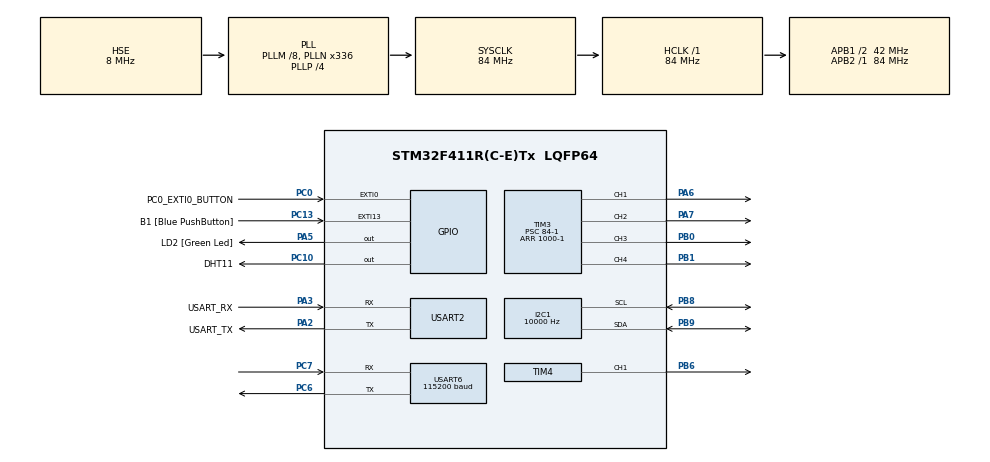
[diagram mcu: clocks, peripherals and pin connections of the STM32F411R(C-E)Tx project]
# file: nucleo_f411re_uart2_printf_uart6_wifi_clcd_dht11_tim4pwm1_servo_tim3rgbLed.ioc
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I2C1.ClockSpeed=10000
Mcu.Family=STM32F4
Mcu.Name=STM32F411R(C-E)Tx
Mcu.Package=LQFP64
NVIC.EXTI0_IRQn=true\:0\:0\:false\:false\:true\:true\:true\:true
NVIC.EXTI15_10_IRQn=true\:0\:0\:false\:false\:true\:true\:true\:true
NVIC.PriorityGroup=NVIC_PRIORITYGROUP_0
NVIC.TIM3_IRQn=true\:0\:0\:false\:false\:true\:true\:true\:true
NVIC.USART2_IRQn=true\:0\:0\:false\:false\:true\:true\:true\:true
NVIC.USART6_IRQn=true\:0\:0\:false\:false\:true\:true\:true\:true
PA13.GPIO_Label=TMS
PA13.Mode=Serial_Wire
PA13.Signal=SYS_JTMS-SWDIO
PA14.GPIO_Label=TCK
PA14.Mode=Serial_Wire
PA14.Signal=SYS_JTCK-SWCLK
PA2.GPIO_Label=USART_TX
PA2.Mode=Asynchronous
PA2.Signal=USART2_TX
PA3.GPIO_Label=USART_RX
PA3.Mode=Asynchronous
PA3.Signal=USART2_RX
PA5.GPIO_Label=LD2 [Green Led]
PA5.Signal=GPIO_Output
PA6.Signal=S_TIM3_CH1
PA7.Signal=S_TIM3_CH2
PB0.Signal=S_TIM3_CH3
PB1.Signal=S_TIM3_CH4
PB3.GPIO_Label=SWO
PB3.Signal=SYS_JTDO-SWO
PB6.Signal=S_TIM4_CH1
PB8.Mode=I2C
PB8.Signal=I2C1_SCL
PB9.Mode=I2C
PB9.Signal=I2C1_SDA
PC0.GPIO_Label=PC0_EXTI0_BUTTON
PC0.Signal=GPXTI0
PC10.GPIO_Label=DHT11
PC10.Signal=GPIO_Output
PC13-ANTI_TAMP.GPIO_Label=B1 [Blue PushButton]
PC13-ANTI_TAMP.GPIO_ModeDefaultEXTI=GPIO_MODE_IT_FALLING
PC13-ANTI_TAMP.Signal=GPXTI13
PC14-OSC32_IN.Signal=RCC_OSC32_IN
PC15-OSC32_OUT.Signal=RCC_OSC32_OUT
PC6.Mode=Asynchronous
PC6.Signal=USART6_TX
PC7.Mode=Asynchronous
PC7.Signal=USART6_RX
PH0\ -\ OSC_IN.Mode=HSE-External-Oscillator
PH0\ -\ OSC_IN.Signal=RCC_OSC_IN
PH1\ -\ OSC_OUT.Mode=HSE-External-Oscillator
PH1\ -\ OSC_OUT.Signal=RCC_OSC_OUT
ProjectManager.HeapSize=0x200
ProjectManager.StackSize=0x400
ProjectManager.TargetToolchain=STM32CubeIDE
RCC.48MHZClocksFreq_Value=84000000
RCC.AHBFreq_Value=84000000
RCC.APB1CLKDivider=RCC_HCLK_DIV2
RCC.APB1Freq_Value=42000000
RCC.APB1TimFreq_Value=84000000
RCC.APB2Freq_Value=84000000
RCC.APB2TimFreq_Value=84000000
RCC.CortexFreq_Value=84000000
RCC.FLatency-AdvancedSettings=FLASH_LATENCY_2
RCC.HCLKFreq_Value=84000000
RCC.HSE_VALUE=8000000
RCC.HSI_VALUE=16000000
RCC.LSE_VALUE=32768
RCC.PLLM=8
RCC.PLLN=336
RCC.PLLP=RCC_PLLP_DIV4
RCC.PLLSourceVirtual=RCC_PLLSOURCE_HSE
RCC.SYSCLKFreq_VALUE=84000000
RCC.SYSCLKSource=RCC_SYSCLKSOURCE_PLLCLK
RCC.VCOOutputFreq_Value=336000000
SH.S_TIM3_CH1.0=TIM3_CH1,PWM Generation1 CH1
SH.S_TIM3_CH2.0=TIM3_CH2,PWM Generation2 CH2
SH.S_TIM3_CH3.0=TIM3_CH3,PWM Generation3 CH3
SH.S_TIM3_CH4.0=TIM3_CH4,PWM Generation4 CH4
SH.S_TIM4_CH1.0=TIM4_CH1,PWM Generation1 CH1
TIM3.AutoReloadPreload=TIM_AUTORELOAD_PRELOAD_ENABLE
TIM3.Channel-PWM\ Generation1\ CH1=TIM_CHANNEL_1
TIM3.Channel-PWM\ Generation2\ CH2=TIM_CHANNEL_2
TIM3.Channel-PWM\ Generation3\ CH3=TIM_CHANNEL_3
TIM3.Channel-PWM\ Generation4\ CH4=TIM_CHANNEL_4
TIM3.Period=1000-1
TIM3.Prescaler=84-1
TIM4.Channel-PWM\ Generation1\ CH1=TIM_CHANNEL_1
TIM4.Period=20000-1
TIM4.Prescaler=84-1
TIM4.Pulse-PWM\ Generation1\ CH1=500
USART2.VirtualMode=VM_ASYNC
USART6.BaudRate=115200
USART6.VirtualMode=VM_ASYNC
VP_TIM3_VS_ClockSourceINT.Mode=Internal
VP_TIM4_VS_ClockSourceINT.Mode=Internal
board=NUCLEO-F411RE

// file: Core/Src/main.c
/* USER CODE BEGIN Header */
/**
  ******************************************************************************
  * @file           : main.c
  * @brief          : Main program body
  ******************************************************************************
  * @attention
  *
  * Copyright (c) 2024 STMicroelectronics.
  * All rights reserved.
  *
  * This software is licensed under terms that can be found in the LICENSE file
  * in the root directory of this software component.
  * If no LICENSE file comes with this software, it is provided AS-IS.
  *
  ******************************************************************************
  */
/* USER CODE END Header */
#include "main.h"

/* USER CODE BEGIN Includes */
#include <stdio.h>
#include <string.h>
#include <stdlib.h>
#include "esp.h"
#include "dht.h"
#include "clcd.h"
/* USER CODE END Includes */

/* USER CODE BEGIN PD */
#ifdef __GNUC__
/* With GCC, small printf (option LD Linker->Libraries->Small printf
   set to 'Yes') calls __io_putchar() */
#define PUTCHAR_PROTOTYPE int __io_putchar(int ch)
#else
#define PUTCHAR_PROTOTYPE int fputc(int ch, FILE *f)
#endif /* __GNUC__ */
#define ARR_CNT 5
#define CMD_SIZE 50

/* USER CODE END PD */

I2C_HandleTypeDef hi2c1;

TIM_HandleTypeDef htim3;
TIM_HandleTypeDef htim4;

UART_HandleTypeDef huart2;
UART_HandleTypeDef huart6;

/* USER CODE BEGIN PV */
uint8_t rx2char;
extern cb_data_t cb_data;
extern volatile unsigned char rx2Flag;
extern volatile char rx2Data[50];
volatile int tim3Flag1Sec=1;
volatile unsigned int tim3Sec;
volatile int keyNo;
int rgbFlag;
/* USER CODE END PV */

void SystemClock_Config(void);
static void MX_GPIO_Init(void);
static void MX_USART2_UART_Init(void);
static void MX_USART6_UART_Init(void);
static void MX_TIM3_Init(void);
static void MX_I2C1_Init(void);
static void MX_TIM4_Init(void);
/* USER CODE BEGIN PFP */
char strBuff[MAX_ESP_COMMAND_LEN];
void MX_GPIO_LED_ON(int flag);
void MX_GPIO_LED_OFF(int flag);
void esp_event(char *);
long map(long x, long in_min, long in_max, long out_min, long out_max);
void set_rgb_led(int red, int green, int blue);
/* USER CODE END PFP */

int main(void)
{

  /* USER CODE BEGIN 1 */
	int ret = 0;
	DHT11_TypeDef dht11Data;
	char buff[30];
	int pluse = 500;
	int red = 500;
	int green = 500;
	int blue = 500;
  /* USER CODE END 1 */

  /* MCU Configuration--------------------------------------------------------*/

  /* Reset of all peripherals, Initializes the Flash interface and the Systick. */
  HAL_Init();

  /* Configure the system clock */
  SystemClock_Config();

  /* Initialize all configured peripherals */
  MX_GPIO_Init();
  MX_USART2_UART_Init();
  MX_USART6_UART_Init();
  MX_TIM3_Init();
  MX_I2C1_Init();
  MX_TIM4_Init();
  /* USER CODE BEGIN 2 */
  printf("Start main() - wifi\r\n");
  ret |= drv_uart_init();
  ret |= drv_esp_init();
  if(ret != 0)
  {
	  printf("Esp response error\r\n");
	  Error_Handler();
  }

  AiotClient_Init();

  DHT11_Init();
  LCD_init(&hi2c1);
  LCD_writeStringXY(0, 0, "hello lcd");

  if(HAL_TIM_Base_Start_IT(&htim3) != HAL_OK)
  {
	  Error_Handler();
  }
  if(HAL_TIM_PWM_Start(&htim4, TIM_CHANNEL_1) != HAL_OK)
  {
	  Error_Handler();
  }
  __HAL_TIM_SetCompare(&htim4,TIM_CHANNEL_1,(pluse-1)<0?0:pluse-1);

  __HAL_TIM_SetCompare(&htim3,TIM_CHANNEL_2,(red-1)<0?0:red-1);
  __HAL_TIM_SetCompare(&htim3,TIM_CHANNEL_3,(green-1)<0?0:green-1);
  __HAL_TIM_SetCompare(&htim3,TIM_CHANNEL_4,(blue-1)<0?0:blue-1);
  if(HAL_TIM_PWM_Start(&htim3, TIM_CHANNEL_2) != HAL_OK)
  {
	  Error_Handler();
  }
  if(HAL_TIM_PWM_Start(&htim3, TIM_CHANNEL_3) != HAL_OK)
  {
	  Error_Handler();
  }
  if(HAL_TIM_PWM_Start(&htim3, TIM_CHANNEL_4) != HAL_OK)
  {
	  Error_Handler();
  }

  /* USER CODE END 2 */

  /* Infinite loop */
  /* USER CODE BEGIN WHILE */
  while (1)
  {
		if(strstr((char *)cb_data.buf,"+IPD") && cb_data.buf[cb_data.length-1] == '\n')
		{
			//?��?��?���??  \r\n+IPD,15:[KSH_LIN]HELLO\n
			strcpy(strBuff,strchr((char *)cb_data.buf,'['));
			memset(cb_data.buf,0x0,sizeof(cb_data.buf));
			cb_data.length = 0;
			esp_event(strBuff);
		}
		if(rx2Flag)
		{
			printf("recv2 : %s\r\n",rx2Data);
			rx2Flag =0;
		}
		if(keyNo != 0)
		{
		  if((keyNo == 1) && (pluse > 500))	//down
		  {
			  pluse -= 200;
		  }
		  if((keyNo == 2) && (pluse < 2500))	//up
		  {
			  pluse += 200;
		  }
		  __HAL_TIM_SetCompare(&htim4,TIM_CHANNEL_1,(pluse-1)<0?0:pluse-1);
		  printf("keyNo : %u, pluse : %d\r\n",keyNo,pluse);
		  keyNo = 0;
		}
		if(tim3Flag1Sec)	//1초에 한번
		{
			tim3Flag1Sec = 0;
			if(!(tim3Sec%10)) //10초에 한번
			{
				if(esp_get_status() != 0)
				{
					printf("server connecting ...\r\n");
					esp_client_conn();
				}
			}
//			printf("tim3Sec : %d\r\n",tim3Sec);
			if(!(tim3Sec%5)) //5초에 한번
			{
				dht11Data = DHT11_readData();
				if(dht11Data.rh_byte1 != 255)
				{
					sprintf(buff,"h: %d%% t: %d.%d'C", dht11Data.rh_byte1, dht11Data.temp_byte1, dht11Data.temp_byte2);
					printf("%s\r\n", buff);
					LCD_writeStringXY(1, 0, buff);
				}
				else
					printf("DHT11 response error\r\n");
			}
			if(rgbFlag == 0)
			{
				if(!(tim3Sec%3))
				{
					red = 1000;
					green = 0;
					blue = 0;
				}
				else if((tim3Sec%3)==1)
				{
					red = 0;
					green = 1000;
					blue = 0;
				}
				else if((tim3Sec%3)==2)
				{
					red = 0;
					green = 0;
					blue = 1000;
				}
				set_rgb_led(red, green, blue);
			}
		}
    /* USER CODE END WHILE */

  }
}

void SystemClock_Config(void)
{
  RCC_OscInitTypeDef RCC_OscInitStruct = {0};
  RCC_ClkInitTypeDef RCC_ClkInitStruct = {0};

  /** Configure the main internal regulator output voltage
  */
  __HAL_RCC_PWR_CLK_ENABLE();
  __HAL_PWR_VOLTAGESCALING_CONFIG(PWR_REGULATOR_VOLTAGE_SCALE1);

  /** Initializes the RCC Oscillators according to the specified parameters
  * in the RCC_OscInitTypeDef structure.
  */
  RCC_OscInitStruct.OscillatorType = RCC_OSCILLATORTYPE_HSE;
  RCC_OscInitStruct.HSEState = RCC_HSE_ON;
  RCC_OscInitStruct.PLL.PLLState = RCC_PLL_ON;
  RCC_OscInitStruct.PLL.PLLSource = RCC_PLLSOURCE_HSE;
  RCC_OscInitStruct.PLL.PLLM = 8;
  RCC_OscInitStruct.PLL.PLLN = 336;
  RCC_OscInitStruct.PLL.PLLP = RCC_PLLP_DIV4;
  RCC_OscInitStruct.PLL.PLLQ = 4;
  if (HAL_RCC_OscConfig(&RCC_OscInitStruct) != HAL_OK)
  {
    Error_Handler();
  }

  /** Initializes the CPU, AHB and APB buses clocks
  */
  RCC_ClkInitStruct.ClockType = RCC_CLOCKTYPE_HCLK|RCC_CLOCKTYPE_SYSCLK
                              |RCC_CLOCKTYPE_PCLK1|RCC_CLOCKTYPE_PCLK2;
  RCC_ClkInitStruct.SYSCLKSource = RCC_SYSCLKSOURCE_PLLCLK;
  RCC_ClkInitStruct.AHBCLKDivider = RCC_SYSCLK_DIV1;
  RCC_ClkInitStruct.APB1CLKDivider = RCC_HCLK_DIV2;
  RCC_ClkInitStruct.APB2CLKDivider = RCC_HCLK_DIV1;

  if (HAL_RCC_ClockConfig(&RCC_ClkInitStruct, FLASH_LATENCY_2) != HAL_OK)
  {
    Error_Handler();
  }
}

static void MX_I2C1_Init(void)
{

  hi2c1.Instance = I2C1;
  hi2c1.Init.ClockSpeed = 10000;
  hi2c1.Init.DutyCycle = I2C_DUTYCYCLE_2;
  hi2c1.Init.OwnAddress1 = 0;
  hi2c1.Init.AddressingMode = I2C_ADDRESSINGMODE_7BIT;
  hi2c1.Init.DualAddressMode = I2C_DUALADDRESS_DISABLE;
  hi2c1.Init.OwnAddress2 = 0;
  hi2c1.Init.GeneralCallMode = I2C_GENERALCALL_DISABLE;
  hi2c1.Init.NoStretchMode = I2C_NOSTRETCH_DISABLE;
  if (HAL_I2C_Init(&hi2c1) != HAL_OK)
  {
    Error_Handler();
  }

}

static void MX_TIM3_Init(void)
{

  TIM_ClockConfigTypeDef sClockSourceConfig = {0};
  TIM_MasterConfigTypeDef sMasterConfig = {0};
  TIM_OC_InitTypeDef sConfigOC = {0};

  htim3.Instance = TIM3;
  htim3.Init.Prescaler = 84-1;
  htim3.Init.CounterMode = TIM_COUNTERMODE_UP;
  htim3.Init.Period = 1000-1;
  htim3.Init.ClockDivision = TIM_CLOCKDIVISION_DIV1;
  htim3.Init.AutoReloadPreload = TIM_AUTORELOAD_PRELOAD_ENABLE;
  if (HAL_TIM_Base_Init(&htim3) != HAL_OK)
  {
    Error_Handler();
  }
  sClockSourceConfig.ClockSource = TIM_CLOCKSOURCE_INTERNAL;
  if (HAL_TIM_ConfigClockSource(&htim3, &sClockSourceConfig) != HAL_OK)
  {
    Error_Handler();
  }
  if (HAL_TIM_PWM_Init(&htim3) != HAL_OK)
  {
    Error_Handler();
  }
  sMasterConfig.MasterOutputTrigger = TIM_TRGO_RESET;
  sMasterConfig.MasterSlaveMode = TIM_MASTERSLAVEMODE_DISABLE;
  if (HAL_TIMEx_MasterConfigSynchronization(&htim3, &sMasterConfig) != HAL_OK)
  {
    Error_Handler();
  }
  sConfigOC.OCMode = TIM_OCMODE_PWM1;
  sConfigOC.Pulse = 0;
  sConfigOC.OCPolarity = TIM_OCPOLARITY_HIGH;
  sConfigOC.OCFastMode = TIM_OCFAST_DISABLE;
  if (HAL_TIM_PWM_ConfigChannel(&htim3, &sConfigOC, TIM_CHANNEL_1) != HAL_OK)
  {
    Error_Handler();
  }
  if (HAL_TIM_PWM_ConfigChannel(&htim3, &sConfigOC, TIM_CHANNEL_2) != HAL_OK)
  {
    Error_Handler();
  }
  if (HAL_TIM_PWM_ConfigChannel(&htim3, &sConfigOC, TIM_CHANNEL_3) != HAL_OK)
  {
    Error_Handler();
  }
  if (HAL_TIM_PWM_ConfigChannel(&htim3, &sConfigOC, TIM_CHANNEL_4) != HAL_OK)
  {
    Error_Handler();
  }
  HAL_TIM_MspPostInit(&htim3);

}

static void MX_TIM4_Init(void)
{

  TIM_ClockConfigTypeDef sClockSourceConfig = {0};
  TIM_MasterConfigTypeDef sMasterConfig = {0};
  TIM_OC_InitTypeDef sConfigOC = {0};

  htim4.Instance = TIM4;
  htim4.Init.Prescaler = 84-1;
  htim4.Init.CounterMode = TIM_COUNTERMODE_UP;
  htim4.Init.Period = 20000-1;
  htim4.Init.ClockDivision = TIM_CLOCKDIVISION_DIV1;
  htim4.Init.AutoReloadPreload = TIM_AUTORELOAD_PRELOAD_DISABLE;
  if (HAL_TIM_Base_Init(&htim4) != HAL_OK)
  {
    Error_Handler();
  }
  sClockSourceConfig.ClockSource = TIM_CLOCKSOURCE_INTERNAL;
  if (HAL_TIM_ConfigClockSource(&htim4, &sClockSourceConfig) != HAL_OK)
  {
    Error_Handler();
  }
  if (HAL_TIM_PWM_Init(&htim4) != HAL_OK)
  {
    Error_Handler();
  }
  sMasterConfig.MasterOutputTrigger = TIM_TRGO_RESET;
  sMasterConfig.MasterSlaveMode = TIM_MASTERSLAVEMODE_DISABLE;
  if (HAL_TIMEx_MasterConfigSynchronization(&htim4, &sMasterConfig) != HAL_OK)
  {
    Error_Handler();
  }
  sConfigOC.OCMode = TIM_OCMODE_PWM1;
  sConfigOC.Pulse = 500;
  sConfigOC.OCPolarity = TIM_OCPOLARITY_HIGH;
  sConfigOC.OCFastMode = TIM_OCFAST_DISABLE;
  if (HAL_TIM_PWM_ConfigChannel(&htim4, &sConfigOC, TIM_CHANNEL_1) != HAL_OK)
  {
    Error_Handler();
  }
  HAL_TIM_MspPostInit(&htim4);

}

static void MX_USART2_UART_Init(void)
{

  huart2.Instance = USART2;
  huart2.Init.BaudRate = 115200;
  huart2.Init.WordLength = UART_WORDLENGTH_8B;
  huart2.Init.StopBits = UART_STOPBITS_1;
  huart2.Init.Parity = UART_PARITY_NONE;
  huart2.Init.Mode = UART_MODE_TX_RX;
  huart2.Init.HwFlowCtl = UART_HWCONTROL_NONE;
  huart2.Init.OverSampling = UART_OVERSAMPLING_16;
  if (HAL_UART_Init(&huart2) != HAL_OK)
  {
    Error_Handler();
  }

}

static void MX_USART6_UART_Init(void)
{

  huart6.Instance = USART6;
  huart6.Init.BaudRate = 115200;
  huart6.Init.WordLength = UART_WORDLENGTH_8B;
  huart6.Init.StopBits = UART_STOPBITS_1;
  huart6.Init.Parity = UART_PARITY_NONE;
  huart6.Init.Mode = UART_MODE_TX_RX;
  huart6.Init.HwFlowCtl = UART_HWCONTROL_NONE;
  huart6.Init.OverSampling = UART_OVERSAMPLING_16;
  if (HAL_UART_Init(&huart6) != HAL_OK)
  {
    Error_Handler();
  }

}

static void MX_GPIO_Init(void)
{
  GPIO_InitTypeDef GPIO_InitStruct = {0};

  /* GPIO Ports Clock Enable */
  __HAL_RCC_GPIOC_CLK_ENABLE();
  __HAL_RCC_GPIOH_CLK_ENABLE();
  __HAL_RCC_GPIOA_CLK_ENABLE();
  __HAL_RCC_GPIOB_CLK_ENABLE();

  /*Configure GPIO pin Output Level */
  HAL_GPIO_WritePin(LD2_GPIO_Port, LD2_Pin, GPIO_PIN_RESET);

  /*Configure GPIO pin Output Level */
  HAL_GPIO_WritePin(DHT11_GPIO_Port, DHT11_Pin, GPIO_PIN_RESET);

  /*Configure GPIO pin : B1_Pin */
  GPIO_InitStruct.Pin = B1_Pin;
  GPIO_InitStruct.Mode = GPIO_MODE_IT_FALLING;
  GPIO_InitStruct.Pull = GPIO_NOPULL;
  HAL_GPIO_Init(B1_GPIO_Port, &GPIO_InitStruct);

  /*Configure GPIO pin : PC0_EXTI0_BUTTON_Pin */
  GPIO_InitStruct.Pin = PC0_EXTI0_BUTTON_Pin;
  GPIO_InitStruct.Mode = GPIO_MODE_IT_RISING;
  GPIO_InitStruct.Pull = GPIO_NOPULL;
  HAL_GPIO_Init(PC0_EXTI0_BUTTON_GPIO_Port, &GPIO_InitStruct);

  /*Configure GPIO pin : LD2_Pin */
  GPIO_InitStruct.Pin = LD2_Pin;
  GPIO_InitStruct.Mode = GPIO_MODE_OUTPUT_PP;
  GPIO_InitStruct.Pull = GPIO_NOPULL;
  GPIO_InitStruct.Speed = GPIO_SPEED_FREQ_LOW;
  HAL_GPIO_Init(LD2_GPIO_Port, &GPIO_InitStruct);

  /*Configure GPIO pin : DHT11_Pin */
  GPIO_InitStruct.Pin = DHT11_Pin;
  GPIO_InitStruct.Mode = GPIO_MODE_OUTPUT_PP;
  GPIO_InitStruct.Pull = GPIO_NOPULL;
  GPIO_InitStruct.Speed = GPIO_SPEED_FREQ_LOW;
  HAL_GPIO_Init(DHT11_GPIO_Port, &GPIO_InitStruct);

  /* EXTI interrupt init*/
  HAL_NVIC_SetPriority(EXTI0_IRQn, 0, 0);
  HAL_NVIC_EnableIRQ(EXTI0_IRQn);

  HAL_NVIC_SetPriority(EXTI15_10_IRQn, 0, 0);
  HAL_NVIC_EnableIRQ(EXTI15_10_IRQn);

}

/* USER CODE BEGIN 4 */
void MX_GPIO_LED_ON(int pin)
{
	HAL_GPIO_WritePin(LD2_GPIO_Port, pin, GPIO_PIN_SET);
}
void MX_GPIO_LED_OFF(int pin)
{
	HAL_GPIO_WritePin(LD2_GPIO_Port, pin, GPIO_PIN_RESET);
}
void esp_event(char * recvBuf)
{
  int i=0;
  char * pToken;
  char * pArray[ARR_CNT]={0};
  char sendBuf[MAX_UART_COMMAND_LEN]={0};

  strBuff[strlen(recvBuf)-1] = '\0';	//'\n' cut
  printf("\r\nDebug recv : %s\r\n",recvBuf);

  pToken = strtok(recvBuf,"[@]");
  while(pToken != NULL)
  {
    pArray[i] = pToken;
    if(++i >= ARR_CNT)
      break;
    pToken = strtok(NULL,"[@]");
  }

  if(!strcmp(pArray[1],"LED"))
  {
  	if(!strcmp(pArray[2],"ON"))
  	{
  		MX_GPIO_LED_ON(LD2_Pin);
  	}
	else if(!strcmp(pArray[2],"OFF"))
	{
		MX_GPIO_LED_OFF(LD2_Pin);
	}
	sprintf(sendBuf,"[%s]%s@%s\n",pArray[0],pArray[1],pArray[2]);
  }
  else if(!strcmp(pArray[1],"SERVO"))
  {
	int value = atoi(pArray[2]);
	value = map(value, 0, 180, 500, 2500);
	__HAL_TIM_SetCompare(&htim4,TIM_CHANNEL_1,(value-1)<0?0:value-1);
	sprintf(sendBuf,"[%s]%s@%s\n",pArray[0],pArray[1],pArray[2]);
  }
  else if(!strcmp(pArray[1],"RGB"))
  {

	if(!strcmp(pArray[2],"OFF"))
	{
		rgbFlag = 0;
		sprintf(sendBuf,"[%s]%s@%s\n",pArray[0],pArray[1],pArray[2]);
	}
	else
	{
		rgbFlag = 1;
		int red = atoi(pArray[2]) * 10;
		int green = atoi(pArray[3]) * 10;
		int blue = atoi(pArray[4]) *10;
		set_rgb_led(red,green,blue);
		sprintf(sendBuf,"[%s]%s@%s@%s@%s\n",pArray[0],pArray[1],pArray[2],pArray[3],pArray[4]);
	}
  }
  else if(!strncmp(pArray[1]," New conn",8))
  {
//	   printf("Debug : %s, %s\r\n",pArray[0],pArray[1]);
     return;
  }
  else if(!strncmp(pArray[1]," Already log",8))
  {
// 	    printf("Debug : %s, %s\r\n",pArray[0],pArray[1]);
	  esp_client_conn();
      return;
  }
  else
      return;

  esp_send_data(sendBuf);
  printf("Debug send : %s\r\n",sendBuf);
}
void HAL_TIM_PeriodElapsedCallback(TIM_HandleTypeDef *htim)		//1ms 마다 호출
{
	static int tim3Cnt = 0;
	tim3Cnt++;
	if(tim3Cnt >= 1000) //1ms * 1000 = 1Sec
	{
		tim3Flag1Sec = 1;
		tim3Sec++;
		tim3Cnt = 0;
	}
}
void HAL_GPIO_EXTI_Callback(uint16_t GPIO_Pin)
{
//	printf("EXTI %d\r\n",GPIO_Pin);
	switch(GPIO_Pin)
	{
		case GPIO_PIN_0:
			keyNo = 1;
			break;
		case GPIO_PIN_13:
			keyNo = 2;
			break;
	}
}
long map(long x, long in_min, long in_max, long out_min, long out_max) {
  return (x - in_min) * (out_max - out_min) / (in_max - in_min) + out_min;
}
void set_rgb_led(int red, int green, int blue)
{
__HAL_TIM_SetCompare(&htim3,TIM_CHANNEL_2,(red-1)<0?0:red-1);
__HAL_TIM_SetCompare(&htim3,TIM_CHANNEL_3,(green-1)<0?0:green-1);
__HAL_TIM_SetCompare(&htim3,TIM_CHANNEL_4,(blue-1)<0?0:blue-1);
}
/* USER CODE END 4 */

void Error_Handler(void)
{
  __disable_irq();
  while (1)
  {
  }
}
